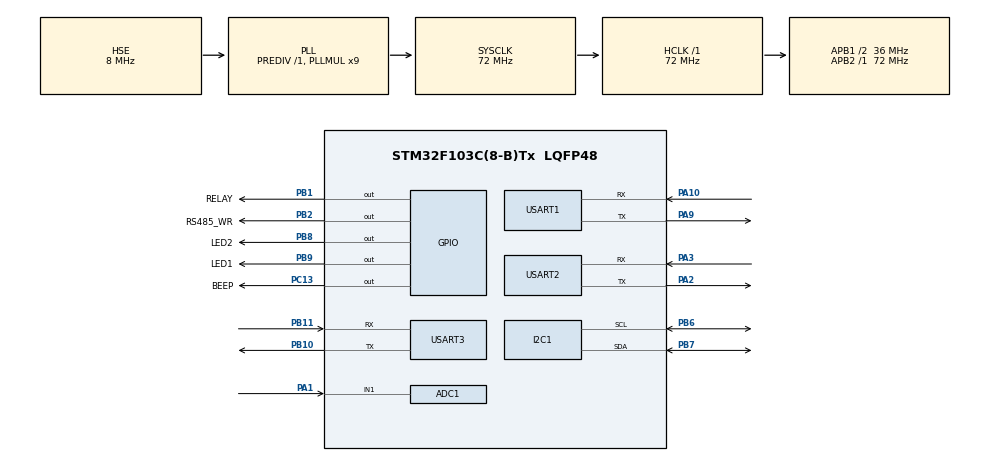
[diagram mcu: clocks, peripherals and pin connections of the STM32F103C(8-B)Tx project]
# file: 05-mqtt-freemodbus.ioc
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ADC1.Channel-6\#ChannelRegularConversion=ADC_CHANNEL_TEMPSENSOR
ADC1.NbrOfConversionFlag=1
ADC1.Rank-6\#ChannelRegularConversion=1
ADC1.SamplingTime-6\#ChannelRegularConversion=ADC_SAMPLETIME_239CYCLES_5
ADC1.master=1
Dma.Request0=USART3_RX
Dma.USART3_RX.0.Direction=DMA_PERIPH_TO_MEMORY
Dma.USART3_RX.0.Instance=DMA1_Channel3
Dma.USART3_RX.0.MemDataAlignment=DMA_MDATAALIGN_BYTE
Dma.USART3_RX.0.MemInc=DMA_MINC_ENABLE
Dma.USART3_RX.0.Mode=DMA_CIRCULAR
Dma.USART3_RX.0.PeriphDataAlignment=DMA_PDATAALIGN_BYTE
Dma.USART3_RX.0.PeriphInc=DMA_PINC_DISABLE
Dma.USART3_RX.0.Priority=DMA_PRIORITY_HIGH
FREERTOS.Tasks01=Modbus,0,128,ModbusTask,Default,NULL,Dynamic,NULL,NULL;MQTT,-3,128,MQTTTask,Default,NULL,Dynamic,NULL,NULL
Mcu.Family=STM32F1
Mcu.Name=STM32F103C(8-B)Tx
Mcu.Package=LQFP48
NVIC.DMA1_Channel3_IRQn=true\:5\:0\:false\:false\:true\:true\:false\:true\:true
NVIC.PriorityGroup=NVIC_PRIORITYGROUP_4
NVIC.TIM1_UP_IRQn=true\:15\:0\:false\:false\:true\:false\:true\:true\:true
NVIC.TIM3_IRQn=true\:5\:0\:true\:false\:false\:true\:true\:true\:true
NVIC.TIM4_IRQn=true\:5\:0\:false\:false\:true\:true\:true\:true\:true
NVIC.TimeBase=TIM1_UP_IRQn
NVIC.TimeBaseIP=TIM1
NVIC.USART2_IRQn=true\:5\:0\:false\:false\:false\:true\:true\:true\:true
NVIC.USART3_IRQn=true\:5\:0\:false\:false\:true\:true\:true\:true\:true
PA1.Signal=ADCx_IN1
PA10.Mode=Asynchronous
PA10.Signal=USART1_RX
PA13.Mode=Serial_Wire
PA13.Signal=SYS_JTMS-SWDIO
PA14.Mode=Serial_Wire
PA14.Signal=SYS_JTCK-SWCLK
PA2.Mode=Asynchronous
PA2.Signal=USART2_TX
PA3.Mode=Asynchronous
PA3.Signal=USART2_RX
PA9.Mode=Asynchronous
PA9.Signal=USART1_TX
PB1.GPIO_Label=RELAY
PB1.Signal=GPIO_Output
PB10.Mode=Asynchronous
PB10.Signal=USART3_TX
PB11.Mode=Asynchronous
PB11.Signal=USART3_RX
PB2.GPIO_Label=RS485_WR
PB2.GPIO_Speed=GPIO_SPEED_FREQ_MEDIUM
PB2.Signal=GPIO_Output
PB6.Mode=I2C
PB6.Signal=I2C1_SCL
PB7.Mode=I2C
PB7.Signal=I2C1_SDA
PB8.GPIO_Label=LED2
PB8.PinState=GPIO_PIN_SET
PB8.Signal=GPIO_Output
PB9.GPIO_Label=LED1
PB9.PinState=GPIO_PIN_SET
PB9.Signal=GPIO_Output
PC13-TAMPER-RTC.GPIO_Label=BEEP
PC13-TAMPER-RTC.Signal=GPIO_Output
PD0-OSC_IN.Mode=HSE-External-Oscillator
PD0-OSC_IN.Signal=RCC_OSC_IN
PD1-OSC_OUT.Mode=HSE-External-Oscillator
PD1-OSC_OUT.Signal=RCC_OSC_OUT
ProjectManager.HeapSize=0x200
ProjectManager.StackSize=0x400
ProjectManager.TargetToolchain=MDK-ARM V5.32
RCC.ADCPresc=RCC_ADCPCLK2_DIV6
RCC.AHBFreq_Value=72000000
RCC.APB1CLKDivider=RCC_HCLK_DIV2
RCC.APB1Freq_Value=36000000
RCC.APB1TimFreq_Value=72000000
RCC.APB2Freq_Value=72000000
RCC.APB2TimFreq_Value=72000000
RCC.HCLKFreq_Value=72000000
RCC.PLLMUL=RCC_PLL_MUL9
RCC.PLLSourceVirtual=RCC_PLLSOURCE_HSE
RCC.RTCClockSelection=RCC_RTCCLKSOURCE_LSE
RCC.SYSCLKFreq_VALUE=72000000
RCC.SYSCLKSource=RCC_SYSCLKSOURCE_PLLCLK
RCC.USBFreq_Value=72000000
SH.ADCx_IN1.0=ADC1_IN1,IN1
TIM3.AutoReloadPreload=TIM_AUTORELOAD_PRELOAD_ENABLE
TIM3.Period=100
TIM3.Prescaler=3599
TIM4.AutoReloadPreload=TIM_AUTORELOAD_PRELOAD_DISABLE
TIM4.Period=100
TIM4.Prescaler=7200-1
USART1.VirtualMode=VM_ASYNC
USART2.VirtualMode=VM_ASYNC
USART3.VirtualMode=VM_ASYNC
VP_ADC1_TempSens_Input.Mode=IN-TempSens
VP_FREERTOS_VS_CMSIS_V1.Mode=CMSIS_V1
VP_SYS_VS_tim1.Mode=TIM1
VP_TIM3_VS_ClockSourceINT.Mode=Internal
VP_TIM4_VS_ClockSourceINT.Mode=Internal
board=custom

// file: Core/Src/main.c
/* USER CODE BEGIN Header */
/**
  ******************************************************************************
  * @file           : main.c
  * @brief          : Main program body
  ******************************************************************************
  * @attention
  *
  * Copyright (c) 2025 STMicroelectronics.
  * All rights reserved.
  *
  * This software is licensed under terms that can be found in the LICENSE file
  * in the root directory of this software component.
  * If no LICENSE file comes with this software, it is provided AS-IS.
  *
  ******************************************************************************
  */
/* USER CODE END Header */
#include "main.h"
#include "cmsis_os.h"
#include "adc.h"
#include "dma.h"
#include "i2c.h"
#include "tim.h"
#include "usart.h"
#include "gpio.h"

/* USER CODE BEGIN Includes */
#include <stdio.h>
#include "oled.h"
#include "aht20.h"
#include "ina226.h"
#include "mb.h"
#include "modbus.h"
#include "wifi4g.h"
#include "fifo.h"
#include "mqtt.h"
/* USER CODE END Includes */

void SystemClock_Config(void);
void MX_FREERTOS_Init(void);

int main(void)
{

  /* MCU Configuration--------------------------------------------------------*/

  /* Reset of all peripherals, Initializes the Flash interface and the Systick. */
  HAL_Init();

  /* Configure the system clock */
  SystemClock_Config();

  /* Initialize all configured peripherals */
  MX_GPIO_Init();
  MX_DMA_Init();
  MX_USART1_UART_Init();
  MX_I2C1_Init();
  MX_ADC1_Init();
  MX_TIM3_Init();
  MX_USART3_UART_Init();
  MX_TIM4_Init();
  MX_USART2_UART_Init();
  /* USER CODE BEGIN 2 */

	HAL_Delay(400); // 延时给 esp8266 打印日志

	__HAL_UART_ENABLE_IT(&huart3, UART_IT_IDLE); //使能串UART3 IDLE(空闲)中断
	HAL_UART_Receive_DMA(&huart3, RX3_Buf, DMA_BUF_SIZE); //设置DMA传输，将uart3的数据搬运到RX3_Buf中

	printf("Uart1 init is ok\n");
	printf("WIFI 4G Test\n");

	OLED_Init();
	OLED_CLS(); // 清除屏幕显示
	OLED_ShowStr(16,0, (unsigned char*)"WIFI 4G Test", 2);
	AHT20_Init();
	INA226_Init();
	Queue_Init(&QUART3);// 队列初始化

	Modbus_Init();
  /* USER CODE END 2 */

  /* Call init function for freertos objects (in cmsis_os2.c) */
  MX_FREERTOS_Init();

  /* Start scheduler */
  osKernelStart();

  /* We should never get here as control is now taken by the scheduler */

  /* Infinite loop */
  while (1)
  {

  }
}

void SystemClock_Config(void)
{
  RCC_OscInitTypeDef RCC_OscInitStruct = {0};
  RCC_ClkInitTypeDef RCC_ClkInitStruct = {0};
  RCC_PeriphCLKInitTypeDef PeriphClkInit = {0};

  /** Initializes the RCC Oscillators according to the specified parameters
  * in the RCC_OscInitTypeDef structure.
  */
  RCC_OscInitStruct.OscillatorType = RCC_OSCILLATORTYPE_HSE;
  RCC_OscInitStruct.HSEState = RCC_HSE_ON;
  RCC_OscInitStruct.HSEPredivValue = RCC_HSE_PREDIV_DIV1;
  RCC_OscInitStruct.HSIState = RCC_HSI_ON;
  RCC_OscInitStruct.PLL.PLLState = RCC_PLL_ON;
  RCC_OscInitStruct.PLL.PLLSource = RCC_PLLSOURCE_HSE;
  RCC_OscInitStruct.PLL.PLLMUL = RCC_PLL_MUL9;
  if (HAL_RCC_OscConfig(&RCC_OscInitStruct) != HAL_OK)
  {
    Error_Handler();
  }

  /** Initializes the CPU, AHB and APB buses clocks
  */
  RCC_ClkInitStruct.ClockType = RCC_CLOCKTYPE_HCLK|RCC_CLOCKTYPE_SYSCLK
                              |RCC_CLOCKTYPE_PCLK1|RCC_CLOCKTYPE_PCLK2;
  RCC_ClkInitStruct.SYSCLKSource = RCC_SYSCLKSOURCE_PLLCLK;
  RCC_ClkInitStruct.AHBCLKDivider = RCC_SYSCLK_DIV1;
  RCC_ClkInitStruct.APB1CLKDivider = RCC_HCLK_DIV2;
  RCC_ClkInitStruct.APB2CLKDivider = RCC_HCLK_DIV1;

  if (HAL_RCC_ClockConfig(&RCC_ClkInitStruct, FLASH_LATENCY_2) != HAL_OK)
  {
    Error_Handler();
  }
  PeriphClkInit.PeriphClockSelection = RCC_PERIPHCLK_ADC;
  PeriphClkInit.AdcClockSelection = RCC_ADCPCLK2_DIV6;
  if (HAL_RCCEx_PeriphCLKConfig(&PeriphClkInit) != HAL_OK)
  {
    Error_Handler();
  }
}

void HAL_TIM_PeriodElapsedCallback(TIM_HandleTypeDef *htim)
{
  /* USER CODE BEGIN Callback 0 */
	static uint32_t Count5000ms = 0;
  /* USER CODE END Callback 0 */
  if (htim->Instance == TIM1)
  {
    HAL_IncTick();
  }
  /* USER CODE BEGIN Callback 1 */
	if (htim->Instance == TIM1)
  {
		TIM1_Timeout_Flag = 1;
		Count5000ms++;
		if(Count5000ms >= 500)
		{
			Count5000ms = 0;
			MQTT_UPLoad_Flag = 1;
		}
	}
	if(htim->Instance == TIM4)
	{
		HAL_TIM_Base_Stop(&htim4); // 关闭定时器4中断
		WIFI4G_CMD_Status =  WIFI4G_Parse_Queue(&QUART3) ;
	}
  /* USER CODE END Callback 1 */
}

void Error_Handler(void)
{
  __disable_irq();
  while (1)
  {
  }
}

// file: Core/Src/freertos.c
/* USER CODE BEGIN Header */
/**
  ******************************************************************************
  * File Name          : freertos.c
  * Description        : Code for freertos applications
  ******************************************************************************
  * @attention
  *
  * Copyright (c) 2026 STMicroelectronics.
  * All rights reserved.
  *
  * This software is licensed under terms that can be found in the LICENSE file
  * in the root directory of this software component.
  * If no LICENSE file comes with this software, it is provided AS-IS.
  *
  ******************************************************************************
  */
/* USER CODE END Header */

#include "FreeRTOS.h"
#include "task.h"
#include "main.h"
#include "cmsis_os.h"

/* USER CODE BEGIN Includes */
#include "modbus.h"
#include "mb.h"
#include "mqtt.h"
/* USER CODE END Includes */

osThreadId ModbusHandle;
osThreadId MQTTHandle;

void ModbusTask(void const * argument);
void MQTTTask(void const * argument);

void MX_FREERTOS_Init(void); /* (MISRA C 2004 rule 8.1) */

/* GetIdleTaskMemory prototype (linked to static allocation support) */
void vApplicationGetIdleTaskMemory( StaticTask_t **ppxIdleTaskTCBBuffer, StackType_t **ppxIdleTaskStackBuffer, uint32_t *pulIdleTaskStackSize );

/* USER CODE BEGIN GET_IDLE_TASK_MEMORY */
static StaticTask_t xIdleTaskTCBBuffer;
static StackType_t xIdleStack[configMINIMAL_STACK_SIZE];

void vApplicationGetIdleTaskMemory( StaticTask_t **ppxIdleTaskTCBBuffer, StackType_t **ppxIdleTaskStackBuffer, uint32_t *pulIdleTaskStackSize )
{
  *ppxIdleTaskTCBBuffer = &xIdleTaskTCBBuffer;
  *ppxIdleTaskStackBuffer = &xIdleStack[0];
  *pulIdleTaskStackSize = configMINIMAL_STACK_SIZE;
  /* place for user code */
}
/* USER CODE END GET_IDLE_TASK_MEMORY */

void MX_FREERTOS_Init(void) {

  /* Create the thread(s) */
  /* definition and creation of Modbus */
  osThreadDef(Modbus, ModbusTask, osPriorityNormal, 0, 128);
  ModbusHandle = osThreadCreate(osThread(Modbus), NULL);

  /* definition and creation of MQTT */
  osThreadDef(MQTT, MQTTTask, osPriorityIdle, 0, 128);
  MQTTHandle = osThreadCreate(osThread(MQTT), NULL);

}

void ModbusTask(void const * argument)
{
  /* USER CODE BEGIN ModbusTask */
  /* Infinite loop */
  for(;;)
  {
		eMBPoll();
		Modbus_Parse();
    osDelay(10);
  }
  /* USER CODE END ModbusTask */
}

void MQTTTask(void const * argument)
{
  /* USER CODE BEGIN MQTTTask */
	MQTT_Connect_Server();
  /* Infinite loop */
  for(;;)
  {
		MQTT_SendData();
    osDelay(1000*5);
  }
  /* USER CODE END MQTTTask */
}
